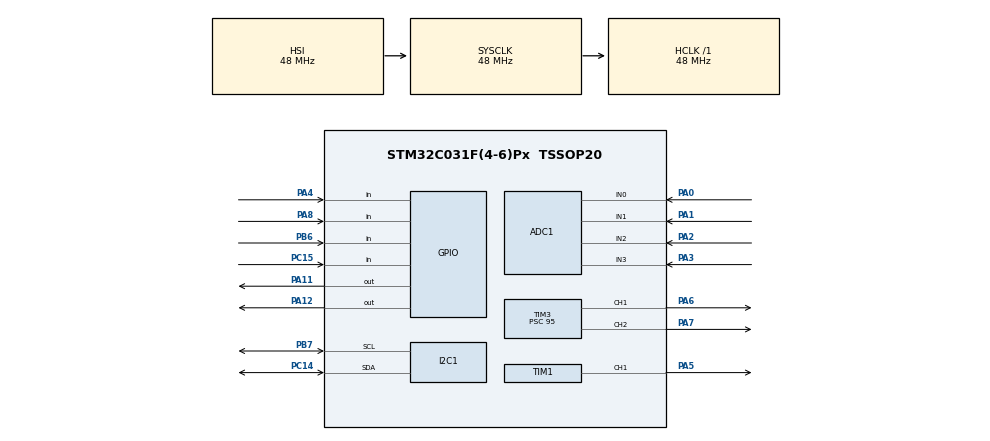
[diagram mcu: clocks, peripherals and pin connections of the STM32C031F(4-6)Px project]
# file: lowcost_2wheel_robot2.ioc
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ADC1.ContinuousConvMode=ENABLE
ADC1.DMAContinuousRequests=ENABLE
ADC1.NbrOfConversionFlag=0
ADC1.SamplingTimeCommon1=ADC_SAMPLETIME_160CYCLES_5
ADC1.SelectedChannel=ADC_CHANNEL_0|ADC_CHANNEL_1|ADC_CHANNEL_2|ADC_CHANNEL_3
ADC1.master=1
Dma.ADC1.0.Direction=DMA_PERIPH_TO_MEMORY
Dma.ADC1.0.EventEnable=DISABLE
Dma.ADC1.0.Instance=DMA1_Channel1
Dma.ADC1.0.MemDataAlignment=DMA_MDATAALIGN_HALFWORD
Dma.ADC1.0.MemInc=DMA_MINC_ENABLE
Dma.ADC1.0.Mode=DMA_CIRCULAR
Dma.ADC1.0.PeriphDataAlignment=DMA_PDATAALIGN_HALFWORD
Dma.ADC1.0.PeriphInc=DMA_PINC_DISABLE
Dma.ADC1.0.Polarity=HAL_DMAMUX_REQ_GEN_RISING
Dma.ADC1.0.Priority=DMA_PRIORITY_LOW
Dma.ADC1.0.RequestNumber=1
Dma.ADC1.0.SignalID=NONE
Dma.ADC1.0.SyncEnable=DISABLE
Dma.ADC1.0.SyncPolarity=HAL_DMAMUX_SYNC_NO_EVENT
Dma.ADC1.0.SyncRequestNumber=1
Dma.ADC1.0.SyncSignalID=NONE
Dma.Request0=ADC1
I2C1.I2C_Coeff_DF=1
I2C1.I2C_Fall_Time=300
I2C1.I2C_Rise_Time=300
I2C1.Timing=0x10D45D7D
Mcu.Family=STM32C0
Mcu.Name=STM32C031F(4-6)Px
Mcu.Package=TSSOP20
NVIC.DMA1_Channel1_IRQn=true\:0\:0\:false\:false\:true\:false\:true\:true
PA0.Mode=IN0
PA0.Signal=ADC1_IN0
PA1.Mode=IN1
PA1.Signal=ADC1_IN1
PA11\ [PA9].Signal=GPIO_Output
PA11\ [PA9]__PA9\ [PA11].StandardMode=true
PA12\ [PA10].Signal=GPIO_Output
PA12\ [PA10]__PA10\ [PA12].StandardMode=true
PA13.Mode=Serial_Wire
PA13.Signal=DEBUG_SWDIO
PA14-BOOT0.Mode=Serial_Wire
PA14-BOOT0.Signal=DEBUG_SWCLK
PA2.Mode=IN2
PA2.Signal=ADC1_IN2
PA3.Mode=IN3
PA3.Signal=ADC1_IN3
PA4.GPIO_PuPd=GPIO_PULLUP
PA4.Signal=GPIO_Input
PA5.Signal=S_TIM1_CH1
PA6.Signal=S_TIM3_CH1
PA7.Signal=S_TIM3_CH2
PA8.GPIO_PuPd=GPIO_PULLUP
PA8.Signal=GPIO_Input
PB6.GPIO_PuPd=GPIO_PULLUP
PB6.Signal=GPIO_Input
PB7.Mode=I2C
PB7.Signal=I2C1_SCL
PC14-OSCX_IN\ (PC14).Mode=I2C
PC14-OSCX_IN\ (PC14).Signal=I2C1_SDA
PC15-OSCX_OUT\ (PC15).GPIO_PuPd=GPIO_PULLUP
PC15-OSCX_OUT\ (PC15).Signal=GPIO_Input
ProjectManager.HeapSize=0x200
ProjectManager.StackSize=0x400
ProjectManager.TargetToolchain=STM32CubeIDE
RCC.ADCFreq_Value=48000000
RCC.AHBFreq_Value=48000000
RCC.CortexFreq_Value=48000000
RCC.EXTERNAL_CLOCK_VALUE=12288000
RCC.HCLKFreq_Value=48000000
RCC.HSE_VALUE=8000000
RCC.HSISYSCLKDivider=RCC_HSI_DIV1
RCC.HSI_VALUE=48000000
RCC.LSE_VALUE=32768
RCC.SYSCLKFreq_VALUE=48000000
SH.S_TIM1_CH1.0=TIM1_CH1,PWM Generation1 CH1
SH.S_TIM3_CH1.0=TIM3_CH1,PWM Generation1 CH1
SH.S_TIM3_CH2.0=TIM3_CH2,PWM Generation2 CH2
TIM1.Channel-PWM\ Generation1\ CH1=TIM_CHANNEL_1
TIM1.Period=4799
TIM1.TIM_MasterOutputTrigger=TIM_TRGO_OC1
TIM14.Period=999
TIM14.Prescaler=47
TIM3.Channel-PWM\ Generation1\ CH1=TIM_CHANNEL_1
TIM3.Channel-PWM\ Generation2\ CH2=TIM_CHANNEL_2
TIM3.Period=9999
TIM3.Prescaler=95
VP_TIM14_VS_ClockSourceINT.Mode=Enable_Timer
board=custom

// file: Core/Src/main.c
/* USER CODE BEGIN Header */
/**
  ******************************************************************************
  * @file           : main.c
  * @brief          : Main program body
  ******************************************************************************
  * @attention
  *
  * Copyright (c) 2025 STMicroelectronics.
  * All rights reserved.
  *
  * This software is licensed under terms that can be found in the LICENSE file
  * in the root directory of this software component.
  * If no LICENSE file comes with this software, it is provided AS-IS.
  *
  ******************************************************************************
  */
/* USER CODE END Header */
#include "main.h"

/* USER CODE BEGIN Includes */
#include "AQM0802.h"
#include <stdio.h>
#include <stdbool.h>
#include <string.h>
/* USER CODE END Includes */

/* USER CODE BEGIN PD */
#define SERVO_COUNTER_PERIOD 10000
#define MOTOR_SPEED_BASE 10
#define SENSOR_MAX_VALUE 4095
/* USER CODE END PD */

ADC_HandleTypeDef hadc1;
DMA_HandleTypeDef hdma_adc1;

I2C_HandleTypeDef hi2c1;

TIM_HandleTypeDef htim1;
TIM_HandleTypeDef htim3;
TIM_HandleTypeDef htim14;

/* USER CODE BEGIN PV */
uint16_t cnt = 0;
uint16_t timer = 0;
uint8_t led_state = GPIO_PIN_SET;
int8_t target_speed = 0;
uint16_t analog[4];
uint16_t mon = 0;

// PIDパラメータ（要調整）
float Kp = 7;  // Lineトレースは1.0
float Kd = 1;

// PID変数
float error = 0, last_error = 0;

// ライントレース or ウォールトレース
typedef enum {
	Line,
	Wall
}TraceType;

TraceType traceType = Wall;

// モータースピード
int default_speed = 10;
int left_speed;
int right_speed;

// センサー閾値
int sensor_threshold = 0;
float correction = 0.0;

/* USER CODE BEGIN PV */

/* USER CODE END PV */

void SystemClock_Config(void);
static void MX_GPIO_Init(void);
static void MX_DMA_Init(void);
static void MX_ADC1_Init(void);
static void MX_I2C1_Init(void);
static void MX_TIM1_Init(void);
static void MX_TIM3_Init(void);
static void MX_TIM14_Init(void);

/* USER CODE BEGIN 0 */

void FS90R_SetSpeed(int8_t speed_l, int8_t speed_r) {
    speed_r *= -1; // 回転方向合わせ

    // 範囲制限
    if (speed_l > 100) speed_l = 100;
    if (speed_l < -100) speed_l = -100;
    if (speed_r > 100) speed_r = 100;
	if (speed_r < -100) speed_r = -100;

    // パルス幅（μs）範囲
    const uint16_t PWM_PERIOD = 20000; //20ms
    const uint16_t PULSE_MIN_US_MARGIN = 700; //0.7ms
	const uint16_t PULSE_MAX_US_MARGIN = 2300; //2.3ms
    const uint16_t PULSE_NEUTRAL_US = 1500; // 1.5ms

    uint32_t pulse_us_l, pulse_us_r;

    if (speed_l >= 0) {
        pulse_us_l = PULSE_NEUTRAL_US + ((PULSE_NEUTRAL_US - PULSE_MIN_US_MARGIN) * speed_l / 100);
    } else {
        pulse_us_l = PULSE_NEUTRAL_US + ((PULSE_MAX_US_MARGIN - PULSE_NEUTRAL_US) * speed_l / 100);
    }

    if (speed_r >= 0) {
  	   pulse_us_r = PULSE_NEUTRAL_US + ((PULSE_NEUTRAL_US - PULSE_MIN_US_MARGIN) * speed_r / 100) ;
   } else {
 	   pulse_us_r = PULSE_NEUTRAL_US + ((PULSE_MAX_US_MARGIN - PULSE_NEUTRAL_US) * speed_r / 100) ;
   }
    mon = pulse_us_r;

    // μs → タイマーのカウント値に変換
    uint32_t pulse_count_l = (pulse_us_l * SERVO_COUNTER_PERIOD) / PWM_PERIOD;
    uint32_t pulse_count_r = (pulse_us_r * SERVO_COUNTER_PERIOD) / PWM_PERIOD;

    // PWM出力
    __HAL_TIM_SET_COMPARE(&htim3, TIM_CHANNEL_1, pulse_count_r);
    __HAL_TIM_SET_COMPARE(&htim3, TIM_CHANNEL_2, pulse_count_l);
}

void HAL_TIM_PeriodElapsedCallback(TIM_HandleTypeDef *htim)
{
   timer++;
   if(timer >= 100){
	   HAL_GPIO_WritePin(GPIOA, GPIO_PIN_11, led_state);
	   led_state = !led_state;

	   timer = 0;
   }
}

void WRITE_LCD(bool isRunning, TraceType traceType){
	  lcd_clear();

	  lcd_locate(0,0);
	  if(isRunning){
		  lcd_printf("Run");
	  }else{
		  lcd_printf("Stop");
	  }

	  lcd_locate(0,1);
	  if(traceType == Wall){
		  lcd_printf("Wall");
	  }else{
		  lcd_printf("Line");
	  }
}

void WRITE_GAIN_LCD(float Kp, float Kd){
	  lcd_clear();

	  int kp_int = (int)Kp;
	  int kp_dec = (int)(Kp * 10) % 10;

	  lcd_locate(0,0);
	  lcd_printf("Kp= %d.%d", kp_int, kp_dec);

	  int kd_int = (int)Kd;
	  int kd_dec = (int)(Kd * 10) % 10;

	  lcd_locate(0,1);
	  lcd_printf("Kd= %d.%d", kd_int, kd_dec);
}

void WRITE_SPEED_LCD(){
	  lcd_clear();

	  lcd_locate(0,0);
	  lcd_printf("Sp= %d", default_speed);
}

void ADJUST_GAIN(float* K){
  while(1){
	  HAL_Delay(100); // 制御周期

	  WRITE_GAIN_LCD(Kp, Kd);
	  if(HAL_GPIO_ReadPin(GPIOA, GPIO_PIN_4) == 0){
		 if(*K < 99){
			 *K += 0.1;
		 }
	  }
	  if(HAL_GPIO_ReadPin(GPIOA, GPIO_PIN_8) == 0){
		  if(*K > 0){
			  *K -= 0.1;
		  }
	  }
	  if(HAL_GPIO_ReadPin(GPIOB, GPIO_PIN_6) == 0){
		  break;
	  }
  }
}

void ADJUST_SPEED(){
  while(1){
	  HAL_Delay(100); // 制御周期

	  WRITE_SPEED_LCD();
	  if(HAL_GPIO_ReadPin(GPIOA, GPIO_PIN_4) == 0){
		 if(default_speed < 99){
			 default_speed += 1;
		 }
	  }
	  if(HAL_GPIO_ReadPin(GPIOA, GPIO_PIN_8) == 0){
		  if(default_speed > 0){
			  default_speed -= 1;
		  }
	  }
	  if(HAL_GPIO_ReadPin(GPIOB, GPIO_PIN_6) == 0){
		  break;
	  }
  }
}

/* USER CODE END 0 */

int main(void)
{

  /* MCU Configuration--------------------------------------------------------*/

  /* Reset of all peripherals, Initializes the Flash interface and the Systick. */
  HAL_Init();

  /* Configure the system clock */
  SystemClock_Config();

  /* Initialize all configured peripherals */
  MX_GPIO_Init();
  MX_DMA_Init();
  MX_ADC1_Init();
  MX_I2C1_Init();
  MX_TIM1_Init();
  MX_TIM3_Init();
  MX_TIM14_Init();
  /* USER CODE BEGIN 2 */
  // タイマー割り込み
  HAL_TIM_Base_Start_IT(&htim14);
  // サーボモータPWM
  HAL_TIM_PWM_Start(&htim3, TIM_CHANNEL_1);
  HAL_TIM_PWM_Start(&htim3, TIM_CHANNEL_2);
  lcd_init();

  // センサースイッチング
  HAL_TIM_PWM_Start(&htim1, TIM_CHANNEL_1);
  __HAL_TIM_SET_COMPARE(&htim1, TIM_CHANNEL_1, 4799); // ひとまず100%

  // ADCスタート
  HAL_ADC_Start_DMA(&hadc1, (uint32_t *) analog, 4);

  // 走行Mode
  bool isRunning = false;
  WRITE_LCD(isRunning, traceType);

  // 重みづけ
  int LineTraceWeights[4] = { 3,  1, -1, -3 }; // ライントレース用（右＋、左−）
  int WallTraceWeights[4] = { -1,  -3, 3, 1 }; // 壁トレース用（右-、左+） 検知方向と同じタイヤが動いて欲しいため左右逆転
  int weights[4]          = { 0,  0,  0,  0 }; // 現在の重み

  /* USER CODE END 2 */

  /* Infinite loop */
  /* USER CODE BEGIN WHILE */
  while (1)
  {
	  WRITE_LCD(isRunning, traceType);

	  // 待機モード
	  while(1){
		  HAL_Delay(100); // 制御周期

		  // Start
		  if(HAL_GPIO_ReadPin(GPIOA, GPIO_PIN_4) == 0){
			 isRunning = true;
			 WRITE_LCD(isRunning, traceType);
			 break;
		  }

		  if(HAL_GPIO_ReadPin(GPIOC, GPIO_PIN_15) == 0){
			  if(traceType == Line){
				  traceType = Wall;
			  }else{
				  traceType = Line;
			  }
			  WRITE_LCD(isRunning, traceType);
		  }

		  // ゲイン調整&Speed調整モード
		  if(HAL_GPIO_ReadPin(GPIOB, GPIO_PIN_6) == 0){
			  ADJUST_GAIN(&Kp);
			  ADJUST_GAIN(&Kd);
			  ADJUST_SPEED();

			  WRITE_LCD(isRunning, traceType);	// ゲイン調整終了後、元の画面に戻す
		  }
	  }

	  // 走行モード
	  while(1){
		  // Stop
		  if(HAL_GPIO_ReadPin(GPIOA, GPIO_PIN_8) == 0){
			  FS90R_SetSpeed(0, 0);
			  isRunning = false;
			  WRITE_LCD(isRunning, traceType);
			  break;
		  }

		int sum_val = 0, sum_weight = 0;

	    // ライントレース or ウォールトレース
	    if(traceType == Line){
	    	memcpy(weights, LineTraceWeights, sizeof(weights));	// ライントレース

	        for(int i=0; i<4; i++){
	        	int sensor_value = analog[i];
	            sum_val += (sensor_value * weights[i]);
	            sum_weight += sensor_value;
	        }

	    }else{
	    	memcpy(weights, WallTraceWeights, sizeof(weights));	// ウォールトレース

	        for(int i=0; i<4; i++){
	        	int sensor_value = SENSOR_MAX_VALUE -analog[i];
	            sum_val += (sensor_value * weights[i]);
	            sum_weight += sensor_value;
	        }
	    }

	    if(sum_weight > 0){
	        error = (float)sum_val / sum_weight; // 平均位置
	    } else {
	    	if(traceType == Line){
	    		error = last_error; // ライン見失ったら前回値
	    	}
	    	else{
	    		error = 0;
	    	}
	    }

	    // PD計算
	    float derivative = error - last_error;
	    correction = Kp*error + Kd*derivative;

	    // 左右モータ速度
	    //left_speed  = MOTOR_SPEED_BASE + correction;
	    //right_speed = MOTOR_SPEED_BASE - correction;
	    left_speed  = default_speed + correction;
	    right_speed = default_speed - correction;

	    FS90R_SetSpeed((int8_t)left_speed, (int8_t)right_speed);
	    last_error = error;

	    // 制御周期
	    HAL_Delay(20); // 制御周期
	  }

    /* USER CODE END WHILE */

  }
}

void SystemClock_Config(void)
{
  RCC_OscInitTypeDef RCC_OscInitStruct = {0};
  RCC_ClkInitTypeDef RCC_ClkInitStruct = {0};

  __HAL_FLASH_SET_LATENCY(FLASH_LATENCY_1);

  /** Initializes the RCC Oscillators according to the specified parameters
  * in the RCC_OscInitTypeDef structure.
  */
  RCC_OscInitStruct.OscillatorType = RCC_OSCILLATORTYPE_HSI;
  RCC_OscInitStruct.HSIState = RCC_HSI_ON;
  RCC_OscInitStruct.HSIDiv = RCC_HSI_DIV1;
  RCC_OscInitStruct.HSICalibrationValue = RCC_HSICALIBRATION_DEFAULT;
  if (HAL_RCC_OscConfig(&RCC_OscInitStruct) != HAL_OK)
  {
    Error_Handler();
  }

  /** Initializes the CPU, AHB and APB buses clocks
  */
  RCC_ClkInitStruct.ClockType = RCC_CLOCKTYPE_HCLK|RCC_CLOCKTYPE_SYSCLK
                              |RCC_CLOCKTYPE_PCLK1;
  RCC_ClkInitStruct.SYSCLKSource = RCC_SYSCLKSOURCE_HSI;
  RCC_ClkInitStruct.SYSCLKDivider = RCC_SYSCLK_DIV1;
  RCC_ClkInitStruct.AHBCLKDivider = RCC_HCLK_DIV1;
  RCC_ClkInitStruct.APB1CLKDivider = RCC_APB1_DIV1;

  if (HAL_RCC_ClockConfig(&RCC_ClkInitStruct, FLASH_LATENCY_1) != HAL_OK)
  {
    Error_Handler();
  }
}

static void MX_ADC1_Init(void)
{

  ADC_ChannelConfTypeDef sConfig = {0};

  /** Configure the global features of the ADC (Clock, Resolution, Data Alignment and number of conversion)
  */
  hadc1.Instance = ADC1;
  hadc1.Init.ClockPrescaler = ADC_CLOCK_SYNC_PCLK_DIV2;
  hadc1.Init.Resolution = ADC_RESOLUTION_12B;
  hadc1.Init.DataAlign = ADC_DATAALIGN_RIGHT;
  hadc1.Init.ScanConvMode = ADC_SCAN_SEQ_FIXED;
  hadc1.Init.EOCSelection = ADC_EOC_SINGLE_CONV;
  hadc1.Init.LowPowerAutoWait = DISABLE;
  hadc1.Init.LowPowerAutoPowerOff = DISABLE;
  hadc1.Init.ContinuousConvMode = ENABLE;
  hadc1.Init.NbrOfConversion = 1;
  hadc1.Init.ExternalTrigConv = ADC_SOFTWARE_START;
  hadc1.Init.ExternalTrigConvEdge = ADC_EXTERNALTRIGCONVEDGE_NONE;
  hadc1.Init.DMAContinuousRequests = ENABLE;
  hadc1.Init.Overrun = ADC_OVR_DATA_PRESERVED;
  hadc1.Init.SamplingTimeCommon1 = ADC_SAMPLETIME_160CYCLES_5;
  hadc1.Init.OversamplingMode = DISABLE;
  hadc1.Init.TriggerFrequencyMode = ADC_TRIGGER_FREQ_HIGH;
  if (HAL_ADC_Init(&hadc1) != HAL_OK)
  {
    Error_Handler();
  }

  /** Configure Regular Channel
  */
  sConfig.Channel = ADC_CHANNEL_0;
  sConfig.Rank = ADC_RANK_CHANNEL_NUMBER;
  if (HAL_ADC_ConfigChannel(&hadc1, &sConfig) != HAL_OK)
  {
    Error_Handler();
  }

  /** Configure Regular Channel
  */
  sConfig.Channel = ADC_CHANNEL_1;
  if (HAL_ADC_ConfigChannel(&hadc1, &sConfig) != HAL_OK)
  {
    Error_Handler();
  }

  /** Configure Regular Channel
  */
  sConfig.Channel = ADC_CHANNEL_2;
  if (HAL_ADC_ConfigChannel(&hadc1, &sConfig) != HAL_OK)
  {
    Error_Handler();
  }

  /** Configure Regular Channel
  */
  sConfig.Channel = ADC_CHANNEL_3;
  if (HAL_ADC_ConfigChannel(&hadc1, &sConfig) != HAL_OK)
  {
    Error_Handler();
  }

}

static void MX_I2C1_Init(void)
{

  hi2c1.Instance = I2C1;
  hi2c1.Init.Timing = 0x10D45D7D;
  hi2c1.Init.OwnAddress1 = 0;
  hi2c1.Init.AddressingMode = I2C_ADDRESSINGMODE_7BIT;
  hi2c1.Init.DualAddressMode = I2C_DUALADDRESS_DISABLE;
  hi2c1.Init.OwnAddress2 = 0;
  hi2c1.Init.OwnAddress2Masks = I2C_OA2_NOMASK;
  hi2c1.Init.GeneralCallMode = I2C_GENERALCALL_DISABLE;
  hi2c1.Init.NoStretchMode = I2C_NOSTRETCH_DISABLE;
  if (HAL_I2C_Init(&hi2c1) != HAL_OK)
  {
    Error_Handler();
  }

  /** Configure Analogue filter
  */
  if (HAL_I2CEx_ConfigAnalogFilter(&hi2c1, I2C_ANALOGFILTER_ENABLE) != HAL_OK)
  {
    Error_Handler();
  }

  /** Configure Digital filter
  */
  if (HAL_I2CEx_ConfigDigitalFilter(&hi2c1, 1) != HAL_OK)
  {
    Error_Handler();
  }

}

static void MX_TIM1_Init(void)
{

  TIM_MasterConfigTypeDef sMasterConfig = {0};
  TIM_OC_InitTypeDef sConfigOC = {0};
  TIM_BreakDeadTimeConfigTypeDef sBreakDeadTimeConfig = {0};

  htim1.Instance = TIM1;
  htim1.Init.Prescaler = 0;
  htim1.Init.CounterMode = TIM_COUNTERMODE_UP;
  htim1.Init.Period = 4799;
  htim1.Init.ClockDivision = TIM_CLOCKDIVISION_DIV1;
  htim1.Init.RepetitionCounter = 0;
  htim1.Init.AutoReloadPreload = TIM_AUTORELOAD_PRELOAD_DISABLE;
  if (HAL_TIM_PWM_Init(&htim1) != HAL_OK)
  {
    Error_Handler();
  }
  sMasterConfig.MasterOutputTrigger = TIM_TRGO_OC1;
  sMasterConfig.MasterOutputTrigger2 = TIM_TRGO2_RESET;
  sMasterConfig.MasterSlaveMode = TIM_MASTERSLAVEMODE_DISABLE;
  if (HAL_TIMEx_MasterConfigSynchronization(&htim1, &sMasterConfig) != HAL_OK)
  {
    Error_Handler();
  }
  sConfigOC.OCMode = TIM_OCMODE_PWM1;
  sConfigOC.Pulse = 0;
  sConfigOC.OCPolarity = TIM_OCPOLARITY_HIGH;
  sConfigOC.OCNPolarity = TIM_OCNPOLARITY_HIGH;
  sConfigOC.OCFastMode = TIM_OCFAST_DISABLE;
  sConfigOC.OCIdleState = TIM_OCIDLESTATE_RESET;
  sConfigOC.OCNIdleState = TIM_OCNIDLESTATE_RESET;
  if (HAL_TIM_PWM_ConfigChannel(&htim1, &sConfigOC, TIM_CHANNEL_1) != HAL_OK)
  {
    Error_Handler();
  }
  sBreakDeadTimeConfig.OffStateRunMode = TIM_OSSR_DISABLE;
  sBreakDeadTimeConfig.OffStateIDLEMode = TIM_OSSI_DISABLE;
  sBreakDeadTimeConfig.LockLevel = TIM_LOCKLEVEL_OFF;
  sBreakDeadTimeConfig.DeadTime = 0;
  sBreakDeadTimeConfig.BreakState = TIM_BREAK_DISABLE;
  sBreakDeadTimeConfig.BreakPolarity = TIM_BREAKPOLARITY_HIGH;
  sBreakDeadTimeConfig.BreakFilter = 0;
  sBreakDeadTimeConfig.BreakAFMode = TIM_BREAK_AFMODE_INPUT;
  sBreakDeadTimeConfig.Break2State = TIM_BREAK2_DISABLE;
  sBreakDeadTimeConfig.Break2Polarity = TIM_BREAK2POLARITY_HIGH;
  sBreakDeadTimeConfig.Break2Filter = 0;
  sBreakDeadTimeConfig.Break2AFMode = TIM_BREAK_AFMODE_INPUT;
  sBreakDeadTimeConfig.AutomaticOutput = TIM_AUTOMATICOUTPUT_DISABLE;
  if (HAL_TIMEx_ConfigBreakDeadTime(&htim1, &sBreakDeadTimeConfig) != HAL_OK)
  {
    Error_Handler();
  }
  HAL_TIM_MspPostInit(&htim1);

}

static void MX_TIM3_Init(void)
{

  TIM_MasterConfigTypeDef sMasterConfig = {0};
  TIM_OC_InitTypeDef sConfigOC = {0};

  htim3.Instance = TIM3;
  htim3.Init.Prescaler = 95;
  htim3.Init.CounterMode = TIM_COUNTERMODE_UP;
  htim3.Init.Period = 9999;
  htim3.Init.ClockDivision = TIM_CLOCKDIVISION_DIV1;
  htim3.Init.AutoReloadPreload = TIM_AUTORELOAD_PRELOAD_DISABLE;
  if (HAL_TIM_PWM_Init(&htim3) != HAL_OK)
  {
    Error_Handler();
  }
  sMasterConfig.MasterOutputTrigger = TIM_TRGO_RESET;
  sMasterConfig.MasterSlaveMode = TIM_MASTERSLAVEMODE_DISABLE;
  if (HAL_TIMEx_MasterConfigSynchronization(&htim3, &sMasterConfig) != HAL_OK)
  {
    Error_Handler();
  }
  sConfigOC.OCMode = TIM_OCMODE_PWM1;
  sConfigOC.Pulse = 0;
  sConfigOC.OCPolarity = TIM_OCPOLARITY_HIGH;
  sConfigOC.OCFastMode = TIM_OCFAST_DISABLE;
  if (HAL_TIM_PWM_ConfigChannel(&htim3, &sConfigOC, TIM_CHANNEL_1) != HAL_OK)
  {
    Error_Handler();
  }
  if (HAL_TIM_PWM_ConfigChannel(&htim3, &sConfigOC, TIM_CHANNEL_2) != HAL_OK)
  {
    Error_Handler();
  }
  HAL_TIM_MspPostInit(&htim3);

}

static void MX_TIM14_Init(void)
{

  htim14.Instance = TIM14;
  htim14.Init.Prescaler = 47;
  htim14.Init.CounterMode = TIM_COUNTERMODE_UP;
  htim14.Init.Period = 999;
  htim14.Init.ClockDivision = TIM_CLOCKDIVISION_DIV1;
  htim14.Init.AutoReloadPreload = TIM_AUTORELOAD_PRELOAD_DISABLE;
  if (HAL_TIM_Base_Init(&htim14) != HAL_OK)
  {
    Error_Handler();
  }

}

static void MX_DMA_Init(void)
{

  /* DMA controller clock enable */
  __HAL_RCC_DMA1_CLK_ENABLE();

  /* DMA interrupt init */
  /* DMA1_Channel1_IRQn interrupt configuration */
  HAL_NVIC_SetPriority(DMA1_Channel1_IRQn, 0, 0);
  HAL_NVIC_EnableIRQ(DMA1_Channel1_IRQn);

}

static void MX_GPIO_Init(void)
{
  GPIO_InitTypeDef GPIO_InitStruct = {0};

  /* GPIO Ports Clock Enable */
  __HAL_RCC_GPIOB_CLK_ENABLE();
  __HAL_RCC_GPIOC_CLK_ENABLE();
  __HAL_RCC_GPIOA_CLK_ENABLE();

  /*Configure GPIO pin Output Level */
  HAL_GPIO_WritePin(GPIOA, GPIO_PIN_11|GPIO_PIN_12, GPIO_PIN_RESET);

  /*Configure GPIO pin : PC15 */
  GPIO_InitStruct.Pin = GPIO_PIN_15;
  GPIO_InitStruct.Mode = GPIO_MODE_INPUT;
  GPIO_InitStruct.Pull = GPIO_PULLUP;
  HAL_GPIO_Init(GPIOC, &GPIO_InitStruct);

  /*Configure GPIO pins : PA4 PA8 */
  GPIO_InitStruct.Pin = GPIO_PIN_4|GPIO_PIN_8;
  GPIO_InitStruct.Mode = GPIO_MODE_INPUT;
  GPIO_InitStruct.Pull = GPIO_PULLUP;
  HAL_GPIO_Init(GPIOA, &GPIO_InitStruct);

  /*Configure GPIO pins : PA11 PA12 */
  GPIO_InitStruct.Pin = GPIO_PIN_11|GPIO_PIN_12;
  GPIO_InitStruct.Mode = GPIO_MODE_OUTPUT_PP;
  GPIO_InitStruct.Pull = GPIO_NOPULL;
  GPIO_InitStruct.Speed = GPIO_SPEED_FREQ_LOW;
  HAL_GPIO_Init(GPIOA, &GPIO_InitStruct);

  /*Configure GPIO pin : PB6 */
  GPIO_InitStruct.Pin = GPIO_PIN_6;
  GPIO_InitStruct.Mode = GPIO_MODE_INPUT;
  GPIO_InitStruct.Pull = GPIO_PULLUP;
  HAL_GPIO_Init(GPIOB, &GPIO_InitStruct);

}

void Error_Handler(void)
{
  __disable_irq();
  while (1)
  {
  }
}
